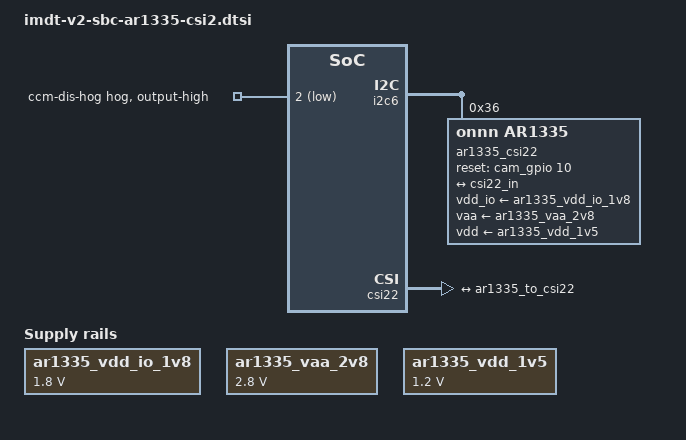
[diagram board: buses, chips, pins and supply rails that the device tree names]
/ {
	
    ar1335_vdd_io_1v8: 1p8v {
		compatible = "regulator-fixed";
		regulator-name = "vdd-io";
		regulator-min-microvolt = <1800000>;
		regulator-max-microvolt = <1800000>;
		regulator-always-on;
		regulator-boot-on;
	};

	ar1335_vaa_2v8: 2p8v {
		compatible = "regulator-fixed";
		regulator-name = "vaa";
		regulator-min-microvolt = <2800000>;
		regulator-max-microvolt = <2800000>;
		//gpio = <&cam_gpio 2 GPIO_ACTIVE_LOW>;
		//regulator-always-on;
	};

	ar1335_vdd_1v5: 1p5v {
		compatible = "regulator-fixed";
		regulator-name = "vdd";
		regulator-min-microvolt = <1200000>;
		regulator-max-microvolt = <1200000>;
		regulator-always-on;
		regulator-boot-on;
	};
    ccm-dis-hog {
			gpio-hog;
			gpios = <2 GPIO_ACTIVE_LOW>;
			output-high;
		};
};


&i2c6 {
	pinctrl-0 = <&i2c6_pins>;
	pinctrl-names = "default";

	status = "okay";

	ar1335_csi22: ar1335_csi22@36 {
		compatible = "onnn,ar1335";
		reg = <0x36>;
		clock-names = "extclk";
		clocks = <&clk_ext_camera>;
		vdd_io-supply = <&ar1335_vdd_io_1v8>;
		vaa-supply = <&ar1335_vaa_2v8>;
		vdd-supply = <&ar1335_vdd_1v5>;
		

		reset-gpios = <&cam_gpio 10 GPIO_ACTIVE_HIGH>;//CCM1
		port {
			ar1335_to_csi22: endpoint {
				clock-lanes = <0>;
				data-lanes = <1 2 3 4>;
				remote-endpoint = <&csi22_in>;
			};
		};
	};
};
&csi22{
    status = "okay";
    ports {
		port {
			csi22_in: endpoint {
				clock-lanes = <0>;
				data-lanes = <1 2 3 4>;
				remote-endpoint = <&ar1335_to_csi22>;
			};
		};
	};
};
